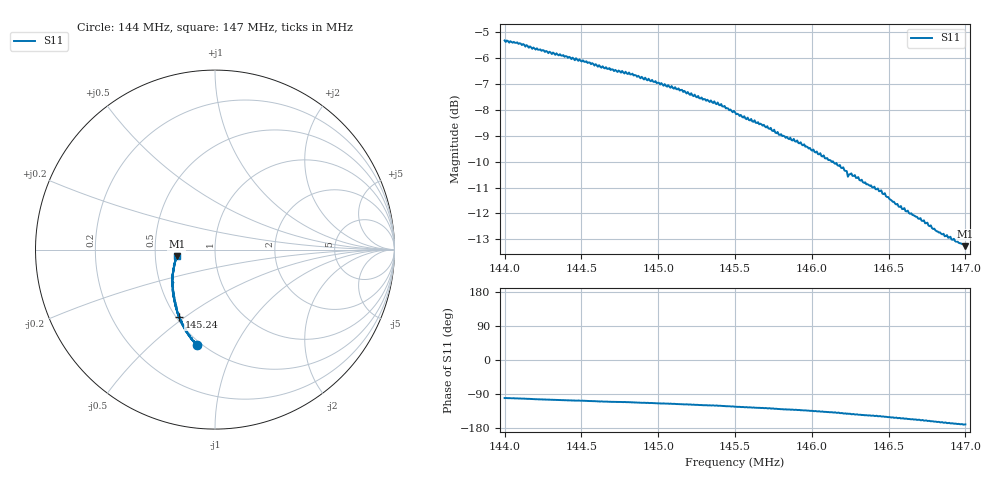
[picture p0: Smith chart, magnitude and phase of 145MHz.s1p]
! NanoVNA-App
! Date: 2023-06-06 09:33:41
! Start: 144MHz Stop: 147MHz Points: 401
! S-Parameter data: F S11
# Hz S RI R 50
!  Frequency  S11_Real  S11_Imag
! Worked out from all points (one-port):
!   401 points, 144 MHz to 147 MHz, reference 50 ohm
!   lowest |S11| = -13.3 dB at 147 MHz (marker M1), VSWR 1.55, Z = 32.3 - j2.59 ohm
!   |S11| at or under -10 dB: 146.1286 MHz to 146.1332 MHz (4.665 kHz wide, 0.00319 % of centre); 146.14 MHz to end of sweep
!   S11 on the Smith chart (normalised r, x): 144 MHz: 0.47, -0.71; 145.24 MHz: 0.52, -0.47; 147 MHz: 0.65, -0.05
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1.44e8  -0.0988 -0.5331
1.4409e8  -0.1069 -0.5233
1.4421e8  -0.1231 -0.5088
1.44375e8  -0.138 -0.4877
1.444725e8  -0.1476 -0.4755
1.44675e8  -0.1642 -0.4487
1.4475e8  -0.1684 -0.4415
1.448175e8  -0.1721 -0.4334
1.45125e8  -0.1926 -0.3914
1.452375e8  -0.2017 -0.3753
1.45395e8  -0.2088 -0.3497
1.455e8  -0.2163 -0.3294
1.457175e8  -0.224 -0.2902
1.458e8  -0.229 -0.2743
1.45875e8  -0.2267 -0.2633
1.459125e8  -0.2302 -0.2549
1.461675e8  -0.236 -0.2028
1.4625e8  -0.2349 -0.185
1.46265e8  -0.2371 -0.1785
1.46355e8  -0.2359 -0.1615
1.464375e8  -0.2359 -0.1457
1.465275e8  -0.232 -0.1269
1.46625e8  -0.232 -0.104
1.467375e8  -0.2256 -0.083
1.467975e8  -0.224 -0.0698
1.468725e8  -0.2192 -0.0592
1.469775e8  -0.2153 -0.0416
1.47e8  -0.2137 -0.0381
